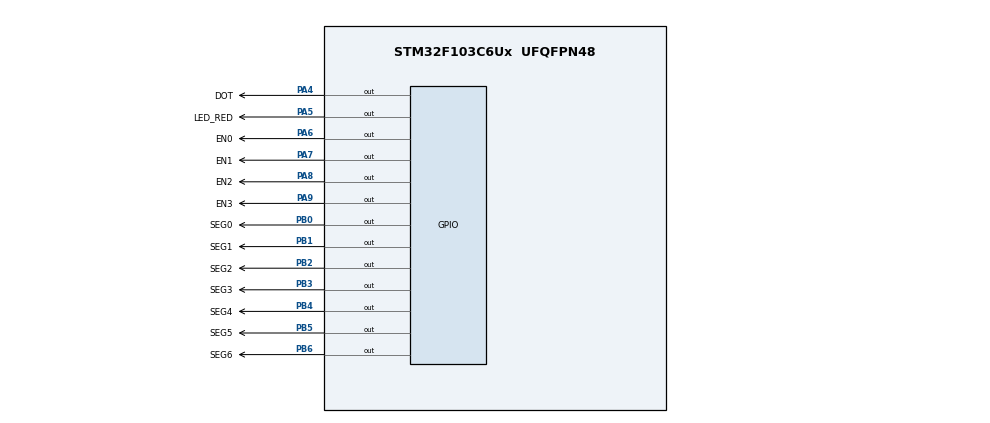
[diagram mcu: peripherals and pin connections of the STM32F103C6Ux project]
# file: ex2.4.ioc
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Mcu.Family=STM32F1
Mcu.Name=STM32F103C6Ux
Mcu.Package=UFQFPN48
NVIC.PriorityGroup=NVIC_PRIORITYGROUP_4
NVIC.TIM2_IRQn=true\:0\:0\:false\:false\:true\:true\:true
PA4.GPIO_Label=DOT
PA4.Signal=GPIO_Output
PA5.GPIO_Label=LED_RED
PA5.Signal=GPIO_Output
PA6.GPIO_Label=EN0
PA6.Signal=GPIO_Output
PA7.GPIO_Label=EN1
PA7.Signal=GPIO_Output
PA8.GPIO_Label=EN2
PA8.Signal=GPIO_Output
PA9.GPIO_Label=EN3
PA9.Signal=GPIO_Output
PB0.GPIO_Label=SEG0
PB0.Signal=GPIO_Output
PB1.GPIO_Label=SEG1
PB1.Signal=GPIO_Output
PB2.GPIO_Label=SEG2
PB2.Signal=GPIO_Output
PB3.GPIO_Label=SEG3
PB3.Signal=GPIO_Output
PB4.GPIO_Label=SEG4
PB4.Signal=GPIO_Output
PB5.GPIO_Label=SEG5
PB5.Signal=GPIO_Output
PB6.GPIO_Label=SEG6
PB6.Signal=GPIO_Output
ProjectManager.HeapSize=0x200
ProjectManager.StackSize=0x400
ProjectManager.TargetToolchain=STM32CubeIDE
RCC.APB1Freq_Value=8000000
RCC.APB2Freq_Value=8000000
TIM2.Period=9
TIM2.Prescaler=7999
VP_SYS_VS_ND.Mode=No_Debug
VP_TIM2_VS_ClockSourceINT.Mode=Internal
board=custom

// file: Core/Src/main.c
/* USER CODE BEGIN Header */
/**
  ******************************************************************************
  * @file           : main.c
  * @brief          : Main program body
  ******************************************************************************
  * @attention
  *
  * <h2><center>&copy; Copyright (c) 2022 STMicroelectronics.
  * All rights reserved.</center></h2>
  *
  * This software component is licensed by ST under BSD 3-Clause license,
  * the "License"; You may not use this file except in compliance with the
  * License. You may obtain a copy of the License at:
  *                        opensource.org/licenses/BSD-3-Clause
  *
  ******************************************************************************
  */
/* USER CODE END Header */
#include "main.h"

/* USER CODE BEGIN Includes */
#include "software_timer.h"
/* USER CODE END Includes */

TIM_HandleTypeDef htim2;

void SystemClock_Config(void);
static void MX_GPIO_Init(void);
static void MX_TIM2_Init(void);

/* USER CODE BEGIN 0 */
const int MAX_LED = 4;
int index_led = 0;
int hour = 15, minute = 8, second = 57;
int led_buffer[4] = {1,2,3,4};
int pinControll7SEG[4] = {EN0_Pin, EN1_Pin, EN2_Pin, EN3_Pin};

/* USER CODE END 0 */
void clearLed() {
	HAL_GPIO_WritePin(GPIOA, EN0_Pin | EN1_Pin | EN2_Pin | EN3_Pin, SET);
}

void clearPin(int index) {
  HAL_GPIO_WritePin(GPIOA, pinControll7SEG[index], SET);
}

void enablePin(int index) {
	HAL_GPIO_WritePin(GPIOA, pinControll7SEG[index], RESET);
}

void display7SEG(int num) {
    char segNumber[10] = {0xC0, 0xF9, 0xA4, 0xB0, 0x99, 0x92, 0x82, 0xF8, 0x80, 0x90};
    for (int i = 0; i < 7; ++i) {
        HAL_GPIO_WritePin(GPIOB, GPIO_PIN_0 << i, (segNumber[num] >> i) & 1);
    }
}

void clearEnable(){
	HAL_GPIO_WritePin(EN0_GPIO_Port, EN0_Pin, 1);
	HAL_GPIO_WritePin(EN1_GPIO_Port, EN1_Pin, 1);
	HAL_GPIO_WritePin(EN2_GPIO_Port, EN2_Pin, 1);
	HAL_GPIO_WritePin(EN3_GPIO_Port, EN3_Pin, 1);
}

void updateClockBuffer() {
    led_buffer[0] = hour / 10;
    led_buffer[1] = hour % 10;
    led_buffer[2] = minute / 10;
    led_buffer[3] = minute % 10;
}
void update7SEG(int index) {
	clearLed();
	clearEnable();
	switch(index) {
	 // Display the first 7 SEG with led_buffer [0]
	  case 0: {
		  display7SEG(led_buffer[0]);
		  enablePin(0);
		  break;
	  }
	  // Display the first 7 SEG with led_buffer [1]
	  case 1: {
		  display7SEG(led_buffer[1]);
		  enablePin(1);
		  break;
	  }
	  // Display the first 7 SEG with led_buffer [2]
	  case 2: {
		  display7SEG(led_buffer[2]);
		  enablePin(2);
		  break;
	  }
	  // Display the first 7 SEG with led_buffer [3]
	  case 3: {
		  display7SEG(led_buffer[3]);
		  enablePin(3);
		  break;
	  }
	}
}

int main(void)
{

  /* MCU Configuration--------------------------------------------------------*/

  /* Reset of all peripherals, Initializes the Flash interface and the Systick. */
  HAL_Init();

  /* Configure the system clock */
  SystemClock_Config();

  /* Initialize all configured peripherals */
  MX_GPIO_Init();
  MX_TIM2_Init();
  /* USER CODE BEGIN 2 */
  HAL_TIM_Base_Start_IT(&htim2);
  /* USER CODE END 2 */

  /* Infinite loop */
  /* USER CODE BEGIN WHILE */

//  clearLed();
  while (1)
  {
//	  second++;
//	  if (second >= 60){
//		  second = 0;
//		  minute++;
//	  }
//	  if(minute >= 60){
//		  minute = 0;
//		  hour++;
//	  }
//	  if(hour >= 24){
//		  hour = 0;
//	  }
//	  updateClockBuffer();
//	  HAL_Delay(1000);
    /* USER CODE END WHILE */
  }
}

void SystemClock_Config(void)
{
  RCC_OscInitTypeDef RCC_OscInitStruct = {0};
  RCC_ClkInitTypeDef RCC_ClkInitStruct = {0};

  /** Initializes the RCC Oscillators according to the specified parameters
  * in the RCC_OscInitTypeDef structure.
  */
  RCC_OscInitStruct.OscillatorType = RCC_OSCILLATORTYPE_HSI;
  RCC_OscInitStruct.HSIState = RCC_HSI_ON;
  RCC_OscInitStruct.HSICalibrationValue = RCC_HSICALIBRATION_DEFAULT;
  RCC_OscInitStruct.PLL.PLLState = RCC_PLL_NONE;
  if (HAL_RCC_OscConfig(&RCC_OscInitStruct) != HAL_OK)
  {
    Error_Handler();
  }
  /** Initializes the CPU, AHB and APB buses clocks
  */
  RCC_ClkInitStruct.ClockType = RCC_CLOCKTYPE_HCLK|RCC_CLOCKTYPE_SYSCLK
                              |RCC_CLOCKTYPE_PCLK1|RCC_CLOCKTYPE_PCLK2;
  RCC_ClkInitStruct.SYSCLKSource = RCC_SYSCLKSOURCE_HSI;
  RCC_ClkInitStruct.AHBCLKDivider = RCC_SYSCLK_DIV1;
  RCC_ClkInitStruct.APB1CLKDivider = RCC_HCLK_DIV1;
  RCC_ClkInitStruct.APB2CLKDivider = RCC_HCLK_DIV1;

  if (HAL_RCC_ClockConfig(&RCC_ClkInitStruct, FLASH_LATENCY_0) != HAL_OK)
  {
    Error_Handler();
  }
}

static void MX_TIM2_Init(void)
{

  TIM_ClockConfigTypeDef sClockSourceConfig = {0};
  TIM_MasterConfigTypeDef sMasterConfig = {0};

  htim2.Instance = TIM2;
  htim2.Init.Prescaler = 7999;
  htim2.Init.CounterMode = TIM_COUNTERMODE_UP;
  htim2.Init.Period = 9;
  htim2.Init.ClockDivision = TIM_CLOCKDIVISION_DIV1;
  htim2.Init.AutoReloadPreload = TIM_AUTORELOAD_PRELOAD_DISABLE;
  if (HAL_TIM_Base_Init(&htim2) != HAL_OK)
  {
    Error_Handler();
  }
  sClockSourceConfig.ClockSource = TIM_CLOCKSOURCE_INTERNAL;
  if (HAL_TIM_ConfigClockSource(&htim2, &sClockSourceConfig) != HAL_OK)
  {
    Error_Handler();
  }
  sMasterConfig.MasterOutputTrigger = TIM_TRGO_RESET;
  sMasterConfig.MasterSlaveMode = TIM_MASTERSLAVEMODE_DISABLE;
  if (HAL_TIMEx_MasterConfigSynchronization(&htim2, &sMasterConfig) != HAL_OK)
  {
    Error_Handler();
  }

}

static void MX_GPIO_Init(void)
{
  GPIO_InitTypeDef GPIO_InitStruct = {0};

  /* GPIO Ports Clock Enable */
  __HAL_RCC_GPIOA_CLK_ENABLE();
  __HAL_RCC_GPIOB_CLK_ENABLE();

  /*Configure GPIO pin Output Level */
  HAL_GPIO_WritePin(GPIOA, GPIO_PIN_4|GPIO_PIN_5|GPIO_PIN_6|GPIO_PIN_7
                          |GPIO_PIN_8|GPIO_PIN_9, GPIO_PIN_RESET);

  /*Configure GPIO pin Output Level */
  HAL_GPIO_WritePin(GPIOB, GPIO_PIN_0|GPIO_PIN_1|GPIO_PIN_2|GPIO_PIN_3
                          |GPIO_PIN_4|GPIO_PIN_5|GPIO_PIN_6, GPIO_PIN_RESET);

  /*Configure GPIO pins : PA4 PA5 PA6 PA7
                           PA8 PA9 */
  GPIO_InitStruct.Pin = GPIO_PIN_4|GPIO_PIN_5|GPIO_PIN_6|GPIO_PIN_7
                          |GPIO_PIN_8|GPIO_PIN_9;
  GPIO_InitStruct.Mode = GPIO_MODE_OUTPUT_PP;
  GPIO_InitStruct.Pull = GPIO_NOPULL;
  GPIO_InitStruct.Speed = GPIO_SPEED_FREQ_LOW;
  HAL_GPIO_Init(GPIOA, &GPIO_InitStruct);

  /*Configure GPIO pins : PB0 PB1 PB2 PB3
                           PB4 PB5 PB6 */
  GPIO_InitStruct.Pin = GPIO_PIN_0|GPIO_PIN_1|GPIO_PIN_2|GPIO_PIN_3
                          |GPIO_PIN_4|GPIO_PIN_5|GPIO_PIN_6;
  GPIO_InitStruct.Mode = GPIO_MODE_OUTPUT_PP;
  GPIO_InitStruct.Pull = GPIO_NOPULL;
  GPIO_InitStruct.Speed = GPIO_SPEED_FREQ_LOW;
  HAL_GPIO_Init(GPIOB, &GPIO_InitStruct);

}

/* USER CODE BEGIN 4 */
int counter = 100;
void HAL_TIM_PeriodElapsedCallback(TIM_HandleTypeDef *htim)
{
	if(counter > 0) {
		counter--;
		// SWITCH 4 LED7SEG 250ms
		if(counter % 25 == 0) {
			update7SEG(index_led++);
			if(index_led >= 4) index_led = 0;
		}
		//LED RED & DOT BLINK 1s
		if(counter == 0) {
			HAL_GPIO_TogglePin(LED_RED_GPIO_Port, LED_RED_Pin);
			HAL_GPIO_TogglePin(DOT_GPIO_Port, DOT_Pin);
			counter = 100;
		}
	}
}
/* USER CODE END 4 */

void Error_Handler(void)
{
  __disable_irq();
  while (1)
  {
  }
}

/************************ (C) COPYRIGHT STMicroelectronics *****END OF FILE****/
